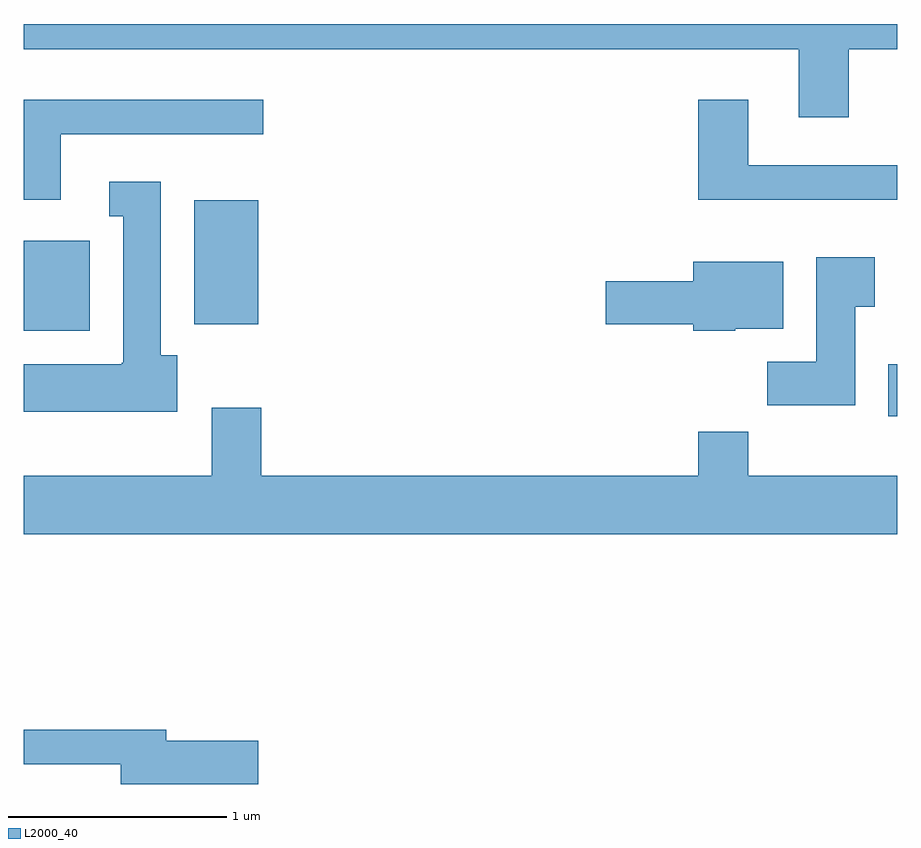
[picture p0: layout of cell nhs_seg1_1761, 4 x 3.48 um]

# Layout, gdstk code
import gdstk
lib = gdstk.Library(unit=1e-6, precision=1e-09)
def R(c, l, rs):  # rectangles x0, y0, x1, y1
    for r in rs: c.add(gdstk.rectangle(r[:2], r[2:], *l))
def P(c, l, *ps):  # polygons
    for p in ps: c.add(gdstk.Polygon(p, *l))
L2000_40 = (2000, 40)

nhs_seg1_1761 = lib.new_cell('nhs_seg1_1761')
R(nhs_seg1_1761, L2000_40, [(243.571,877.916,243.611,878.154), (239.611,878.306,239.914,878.719), (240.391,878.336,240.684,878.904)])
P(nhs_seg1_1761, L2000_40, [(243.389,879.596),(243.611,879.596),(243.611,879.712),(239.611,879.712),(239.611,879.596),(243.161,879.596),(243.161,879.286),(243.389,879.286)],
  [(239.779,879.206),(240.708,879.206),(240.708,879.364),(239.611,879.364),(239.611,878.906),(239.779,878.906)],
  [(243.611,879.064),(242.929,879.064),(242.929,879.364),(242.701,879.364),(242.701,878.906),(243.611,878.906)],
  [(240.314,878.194),(240.239,878.194),(240.239,878.989),(240.003,878.989),(240.003,878.831),(240.066,878.831),(240.066,878.16),(240.06,878.16),(240.06,878.154),(239.611,878.154),(239.611,877.936),(240.314,877.936)],
  [(243.419,878.416),(243.509,878.416),(243.509,878.644),(243.241,878.644),(243.241,878.164),(243.016,878.164),(243.016,877.966),(243.419,877.966)],
  [(242.87,878.316),(243.089,878.316),(243.089,878.624),(242.676,878.624),(242.676,878.534),(242.276,878.534),(242.276,878.336),(242.676,878.336),(242.676,878.306),(242.87,878.306)],
  [(243.611,877.644),(242.929,877.644),(242.929,877.844),(242.701,877.844),(242.701,877.644),(240.699,877.644),(240.699,877.954),(240.471,877.954),(240.471,877.644),(239.611,877.644),(239.611,877.376),(243.611,877.376)],
  [(240.684,876.429),(240.264,876.429),(240.264,876.479),(239.611,876.479),(239.611,876.321),(240.056,876.321),(240.056,876.231),(240.684,876.231)])

lib.write_gds('nhs_seg1_1761.gds')
